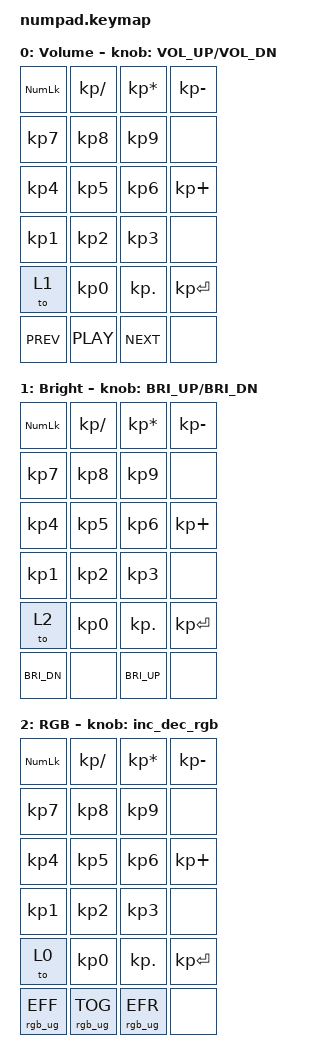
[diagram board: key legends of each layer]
/*
 * Copyright (c) 2026
 * SPDX-License-Identifier: MIT
 *
 * 布局（6行4列，R4C0=编码器按压切层，R5=AI32C 触摸键）：
 *  | Num | /   | *   | -     |   R0
 *  | 7   | 8   | 9   | (空)  |   R1
 *  | 4   | 5   | 6   | +     |   R2
 *  | 1   | 2   | 3   | (空)  |   R3
 *  |ENC |  0  |  .  | Enter |   R4 编码器按压=切层
 *  | T1  | T2  | T3  | -     |   R5 = AI32C 触摸键
 *
 * 三层切换：层0=音量 / 层1=亮度 / 层2=RGB
 * 层0 触摸：上一首 / 播放暂停 / 下一首
 * 层1 触摸：亮度减 / 无 / 亮度加
 * 层2 触摸：RGB上一个效果 / RGB开关 / RGB下一个效果
 * 组合键进 bootloader/reset
 */
#include <behaviors.dtsi>
#include <dt-bindings/zmk/keys.h>
#include <dt-bindings/zmk/bt.h>
#include <dt-bindings/zmk/outputs.h>
#include <dt-bindings/zmk/rgb.h>

#define TIMEOUT 300

/ {
    behaviors {
        // 编码器在 RGB 层控制灯条亮度：递增=RGB_BRI 递减=RGB_BRD
        // 用非 var 版 sensor-rotate（#sensor-binding-cells=0），RGB 命令内联进 bindings。
        // inc_dec_kp 只能发按键码，无法驱动 rgb_ug；rgb_ug 每次需 2 cells（cmd+arg），
        // 而 var 版 #sensor-binding-cells 写死 const 2 装不下两次调用，故用非 var 版。
        inc_dec_rgb: inc_dec_rgb {
            compatible = "zmk,behavior-sensor-rotate";
            #sensor-binding-cells = <0>;
            bindings = <&rgb_ug RGB_BRI>, <&rgb_ug RGB_BRD>;
        };
    };

    combos {
        compatible = "zmk,combos";
        // NumLock(0) + -(3) -> bootloader
        combo_bootloader {
            timeout-ms = <TIMEOUT>;
            key-positions = <0 3>;
            bindings = <&bootloader>;
        };
        // NumLock(0) + *(2) -> 系统重启
        combo_reset {
            timeout-ms = <TIMEOUT>;
            key-positions = <0 2>;
            bindings = <&sys_reset>;
        };
    };

    keymap: keymap {
        compatible = "zmk,keymap";

        // 层0：音量层，编码器按压 -> 切到亮度层
        default_layer {
            display-name = "Volume";
            bindings = <
&kp KP_NUM     &kp KP_DIVIDE   &kp KP_MULTIPLY   &kp KP_MINUS
&kp KP_N7      &kp KP_N8       &kp KP_N9         &none
&kp KP_N4      &kp KP_N5       &kp KP_N6         &kp KP_PLUS
&kp KP_N1      &kp KP_N2       &kp KP_N3         &none
&to 1          &kp KP_N0       &kp KP_DOT        &kp KP_ENTER
&kp C_PREV     &kp C_PLAY      &kp C_NEXT        &none
            >;
            sensor-bindings = <&inc_dec_kp C_VOL_UP C_VOL_DN>;
        };

        // 层1：亮度层，编码器按压 -> 切到 RGB 层
        fn_layer {
            display-name = "Bright";
            bindings = <
&kp KP_NUM     &kp KP_DIVIDE   &kp KP_MULTIPLY   &kp KP_MINUS
&kp KP_N7      &kp KP_N8       &kp KP_N9         &none
&kp KP_N4      &kp KP_N5       &kp KP_N6         &kp KP_PLUS
&kp KP_N1      &kp KP_N2       &kp KP_N3         &none
&to 2          &kp KP_N0       &kp KP_DOT        &kp KP_ENTER
&kp C_BRI_DN   &none           &kp C_BRI_UP      &none
            >;
            sensor-bindings = <&inc_dec_kp C_BRI_UP C_BRI_DN>;
        };

        // 层2：RGB 层，编码器按压 -> 切回音量层
        rgb_layer {
            display-name = "RGB";
            bindings = <
&kp KP_NUM     &kp KP_DIVIDE   &kp KP_MULTIPLY   &kp KP_MINUS
&kp KP_N7      &kp KP_N8       &kp KP_N9         &none
&kp KP_N4      &kp KP_N5       &kp KP_N6         &kp KP_PLUS
&kp KP_N1      &kp KP_N2       &kp KP_N3         &none
&to 0          &kp KP_N0       &kp KP_DOT        &kp KP_ENTER
&rgb_ug RGB_EFF &rgb_ug RGB_TOG &rgb_ug RGB_EFR  &none
            >;
            sensor-bindings = <&inc_dec_rgb>;
        };
    };
};
